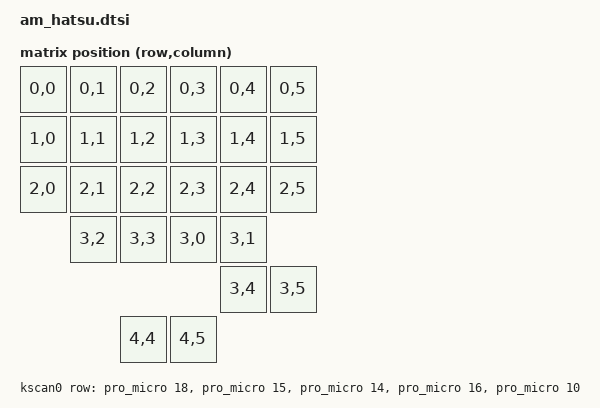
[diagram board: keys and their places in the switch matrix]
	/*
 * Copyright (c) 2020 Pete Johanson
 *
 * SPDX-License-Identifier: MIT
 */

#include <dt-bindings/zmk/matrix_transform.h>

/ {
	chosen {
		zephyr,display = &oled;
		zmk,kscan = &kscan0;
		zmk,matrix_transform = &default_transform;
	};

	default_transform: keymap_transform_0 {
		compatible = "zmk,matrix-transform";
		columns = <6>;
		rows = <5>;

		
		map = <
RC(0,0) RC(0,1) RC(0,2) RC(0,3) RC(0,4) RC(0,5)      
RC(1,0) RC(1,1) RC(1,2) RC(1,3) RC(1,4) RC(1,5)      
RC(2,0) RC(2,1) RC(2,2) RC(2,3) RC(2,4) RC(2,5)      
	        RC(3,2) RC(3,3) RC(3,0) RC(3,1)     
                                RC(3,4) RC(3,5)       
				RC(4,4) RC(4,5)       	
		                  
		>;
	};

	kscan0: kscan {
		compatible = "zmk,kscan-gpio-matrix";
		label = "KSCAN";

		diode-direction = "col2row";

		row-gpios
            = <&pro_micro 18 (GPIO_ACTIVE_HIGH)> // 1.15
            , <&pro_micro 15 (GPIO_ACTIVE_HIGH)> // 1.13
            , <&pro_micro 14 (GPIO_ACTIVE_HIGH)> // 1.11
            , <&pro_micro 16 (GPIO_ACTIVE_HIGH)> // 10
            , <&pro_micro 10 (GPIO_ACTIVE_HIGH)> // 9
            ;
		
	};

};

&pinctrl {
       i2c0_default: i2c0_default {
               group1 {
                       psels = <NRF_PSEL(TWIM_SDA, 0, 29)>,
                               <NRF_PSEL(TWIM_SCL, 0, 31)>;
               };
       };

       i2c0_sleep: i2c0_sleep {
               group1 {
                       psels = <NRF_PSEL(TWIM_SDA, 0, 29)>,
                               <NRF_PSEL(TWIM_SCL, 0, 31)>;
                       low-power-enable;
               };
       };
};


&pro_micro_i2c {
    status = "okay";

    oled: ssd1306@3c {
        compatible = "solomon,ssd1306fb";
        reg = <0x3c>;
        width = <128>;
        height = <32>;
        segment-offset = <0>;
        page-offset = <0>;
        display-offset = <0>;
        multiplex-ratio = <31>;
        segment-remap;
        com-invdir;
        com-sequential;
        inversion-on;
        prechargep = <0x22>;
    };
};
